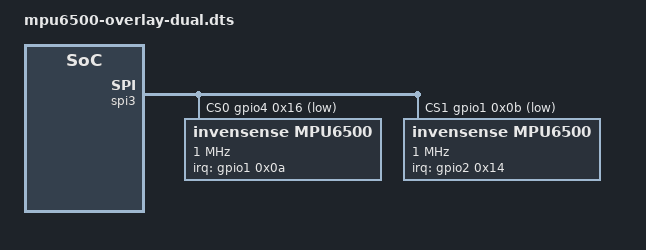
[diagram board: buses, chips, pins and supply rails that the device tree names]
/dts-v1/;
/plugin/;
/ {
	fragment@0 {
		target = <&spi3>;
		__overlay__ {
			status = "okay";
			#address-cells = <0x01>;
			#size-cells = <0x00>;
			pinctrl-names = "default", "high_speed";
			pinctrl-0 = <&spi3_cs0 &spi3m1_pins>;
			pinctrl-1 = <&spi3_cs0 &spi3m1_pins_hs>;
			/* cs-gpios[0]=CS0 GPIO4_C6, cs-gpios[1]=CS1 GPIO1_B3, all active-low */
			cs-gpios = <&gpio4 0x16 0x01>, <&gpio1 0x0b 0x01>;
			mpu6500@0 {
				compatible = "invensense,mpu6500";
				reg = <0x00>;
				spi-max-frequency = <0xf4240>;
				interrupt-parent = <&gpio1>;
				interrupts = <0x0a 0x04>;          /* INT = GPIO1_B2 (pin10), level-high */
			};
			mpu6500@1 {
				compatible = "invensense,mpu6500";
				reg = <0x01>;
				spi-max-frequency = <0xf4240>;
				interrupt-parent = <&gpio2>;
				interrupts = <0x14 0x04>;          /* INT = GPIO2_C4 (pin20), level-high */
			};
		};
	};
};
